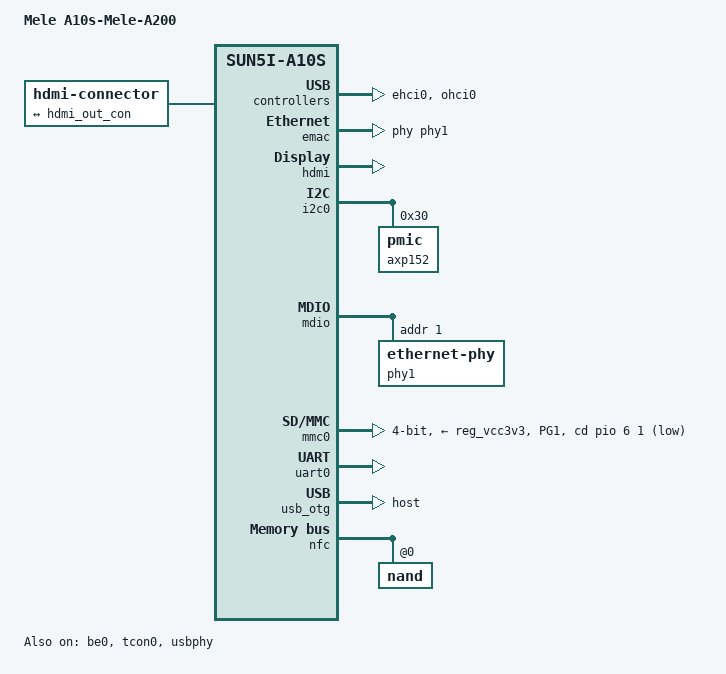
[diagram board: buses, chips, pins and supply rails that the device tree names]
/*
 * Copyright 2019 YangKunlun
 *
 * Yangkunlun <yangkunlun@gmail.com>
 *
 * This file is dual-licensed: you can use it either under the terms
 * of the GPL or the X11 license, at your option. Note that this dual
 * licensing only applies to this file, and not this project as a
 * whole.
 *
 *  a) This file is free software; you can redistribute it and/or
 *     modify it under the terms of the GNU General Public License as
 *     published by the Free Software Foundation; either version 2 of the
 *     License, or (at your option) any later version.
 *
 *     This file is distributed in the hope that it will be useful,
 *     but WITHOUT ANY WARRANTY; without even the implied warranty of
 *     MERCHANTABILITY or FITNESS FOR A PARTICULAR PURPOSE.  See the
 *     GNU General Public License for more details.
 *
 * Or, alternatively,
 *
 *  b) Permission is hereby granted, free of charge, to any person
 *     obtaining a copy of this software and associated documentation
 *     files (the "Software"), to deal in the Software without
 *     restriction, including without limitation the rights to use,
 *     copy, modify, merge, publish, distribute, sublicense, and/or
 *     sell copies of the Software, and to permit persons to whom the
 *     Software is furnished to do so, subject to the following
 *     conditions:
 *
 *     The above copyright notice and this permission notice shall be
 *     included in all copies or substantial portions of the Software.
 *
 *     THE SOFTWARE IS PROVIDED "AS IS", WITHOUT WARRANTY OF ANY KIND,
 *     EXPRESS OR IMPLIED, INCLUDING BUT NOT LIMITED TO THE WARRANTIES
 *     OF MERCHANTABILITY, FITNESS FOR A PARTICULAR PURPOSE AND
 *     NONINFRINGEMENT. IN NO EVENT SHALL THE AUTHORS OR COPYRIGHT
 *     HOLDERS BE LIABLE FOR ANY CLAIM, DAMAGES OR OTHER LIABILITY,
 *     WHETHER IN AN ACTION OF CONTRACT, TORT OR OTHERWISE, ARISING
 *     FROM, OUT OF OR IN CONNECTION WITH THE SOFTWARE OR THE USE OR
 *     OTHER DEALINGS IN THE SOFTWARE.
 */

/dts-v1/;
#include "sun5i-a10s.dtsi"
#include "sunxi-common-regulators.dtsi"

#include <dt-bindings/gpio/gpio.h>
#include <dt-bindings/input/input.h>

/ {
	model = "Mele A10s-Mele-A200";
	compatible = "allwinner,sun5i-a10s";

	aliases {
		serial0 = &uart0;
	};

	chosen {
		stdout-path = "serial0:115200n8";
	};

	connector {
		compatible = "hdmi-connector";
		type = "a";

		port {
			hdmi_con_in: endpoint {
				remote-endpoint = <&hdmi_out_con>;
			};
		};
	};
};

&be0 {
	status = "okay";
};

&ehci0 {
	status = "okay";
};

&emac {
	pinctrl-names = "default";
	pinctrl-0 = <&emac_pins_b>;
	phy = <&phy1>;
	status = "okay";
};

&emac_sram {
	status = "okay";
};

&hdmi {
	status = "okay";
};

&hdmi_out {
	hdmi_out_con: endpoint {
		remote-endpoint = <&hdmi_con_in>;
	};
};

&i2c0 {
	pinctrl-names = "default";
	pinctrl-0 = <&i2c0_pins_a>;
	status = "okay";

	axp152: pmic@30 {
		reg = <0x30>;
		interrupts = <0>;
	};
};

#include "axp152.dtsi"

&mdio {
	status = "okay";

	phy1: ethernet-phy@1 {
		reg = <1>;
	};
};

&mmc0 {
	pinctrl-names = "default";
	pinctrl-0 = <&mmc0_pins_a>, <&mmc0_cd_pin_olinuxino_micro>;
	vmmc-supply = <&reg_vcc3v3>;
	bus-width = <4>;
	cd-gpios = <&pio 6 1 GPIO_ACTIVE_LOW>; /* PG1 */
	status = "okay";
};

&ohci0 {
	status = "okay";
};

&otg_sram {
	status = "okay";
};

&pio {
	mmc0_cd_pin_olinuxino_micro: mmc0_cd_pin@0 {
		pins = "PG1";
		function = "gpio_in";
		bias-pull-up;
	};

	usb0_id_detect_pin: usb0_id_detect_pin@0 {
		pins = "PG13";
		function = "gpio_in";
		bias-pull-up;
	};
};

&reg_usb0_vbus {
	gpio = <&pio 3 25 GPIO_ACTIVE_HIGH>; /* PG11 */
	status = "okay";
};

&tcon0 {
	status = "okay";
};

&uart0 {
	pinctrl-names = "default";
	pinctrl-0 = <&uart0_pins_a>;
	status = "okay";
};

&usb_otg {
	dr_mode = "host";
	status = "okay";
};

&usbphy {
	pinctrl-names = "default";
	pinctrl-0 = <&usb0_id_detect_pin>;
	usb0_id_det-gpio = <&pio 6 13 GPIO_ACTIVE_HIGH>; /* PG13 */
	usb0_vbus-supply = <&reg_usb0_vbus>;
	usb1_vbus-supply = <&reg_vcc5v0>;
	status = "okay";
};

&nfc {
	pinctrl-names = "default";
	pinctrl-0 = <&nand_pins_a &nand_cs0_pins_a &nand_rb0_pins_a>;
	status = "okay";

	nand@0 {
		#address-cells = <2>;
		#size-cells = <2>;
		reg = <0>;
		allwinner,rb = <0>;
		nand-ecc-mode = "hw";
	};
};
